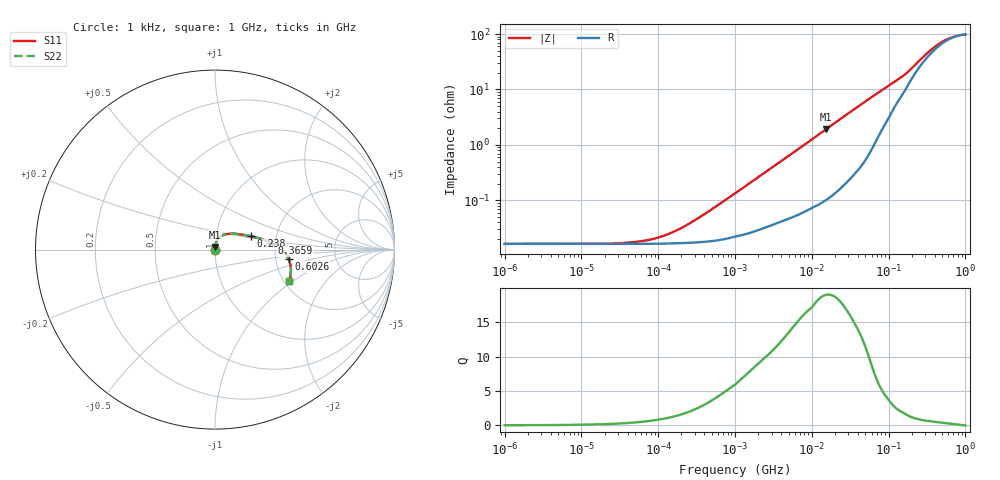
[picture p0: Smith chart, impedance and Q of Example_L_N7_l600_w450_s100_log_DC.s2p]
! Touchstone file exported from HFSS 2023.1.0
!  File:  E:/OneDrive/Studium_Master/4__Masterarbeit/Paper/Fitting_Final_Paper/Paper_Example_Inductor.aedt
!  Generated:  9:55:06  Jan 21, 2025
!  Design:  HFSSDesign1
!  Project:  Paper_Example_Inductor
!  Setup:  Setup1
!  Solution:  Sweep_Log
! Variables:
!  BEOL_h = 0.4um
!  Current = 100mA
!  N = 7
!  Polyimide_h = 86um
!  Sub_h = 750um
!  core_dx = 14.85um
!  core_dy = 19.8um
!  feed_l = 750um
!  h_6S = 25um
!  h_6T = 25um
!  h_core = 6um
!  inductor_length = 3789.6um
!  inductor_width = 720um
!  iso = 5um
!  pad_l = 60um
!  port_l = 60um
!  region_l = 20.72mm
!  region_w = 23.7896mm
!  ring_sep = 100um
!  ring_w = 100um
!  sf = 0.9
!  turn_s = 100um
!  via_h = 16um
!  via_off = 5um
!  winding_l = 600um
!  winding_w = 450um
!  x_offset = 0m
!  y_offset = 0m
!  z_offset = 6mm
# GHz S MA R 50.000000
! Terminal data exported
! Port[1] = P1
! Port[2] = P2
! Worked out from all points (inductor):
!   1801 points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, 1 kHz to 1 GHz, reference 50 ohm
!   read as 1/Y11, port 2 shorted: L = 21.3 nH near 401.2 kHz
!   highest Q = 19 at 15.37 MHz (marker M1), where L = 20 nH
!   self-resonance near 960.5 MHz
!   S11 on the Smith chart (normalised r, x): 1 kHz: 1.00, -0.00; 238 MHz: 1.47, +0.23; 365.9 MHz: 1.93, +0.15; 602.6 MHz: 2.37, -0.29; 1 GHz: 2.13, -0.93
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1e-06  0.0001678 -11.9  0.9998 -0.0  0.9998 -0.0  0.0001678 -11.9
! Gamma 0 0 0 0
! Port Impedance 50 0 50 0
1.007705e-05  0.0001665 -9.4  0.9998 -0.0  0.9998 -0.0  0.0001665 -9.4
4.200813e-05  0.0001682 12.3  0.9998 -0.0  0.9998 -0.0  0.0001682 12.3
6.812921e-05  0.0001779 22.4  0.9998 -0.0  0.9998 -0.0  0.0001779 22.4
0.0001007705  0.000196 32.7  0.9998 -0.0  0.9998 -0.0  0.000196 32.7
0.0001584893  0.0002369 45.0  0.9998 -0.0  0.9998 -0.0  0.0002369 45.0
0.000253124  0.0003198 57.5  0.9998 -0.0  0.9998 -0.0  0.0003198 57.5
0.0004233179  0.0004879 68.4  0.9998 -0.0  0.9998 -0.0  0.0004879 68.4
0.001  0.001075 78.1  0.9998 -0.1  0.9998 -0.1  0.001075 78.1
0.01007705  0.01007 85.1  0.9992 -0.9  0.9992 -0.9  0.01007 85.1
0.01536975  0.01531 85.0  0.9988 -1.3  0.9988 -1.3  0.01531 85.0
0.04073803  0.03929 81.4  0.9955 -3.4  0.9955 -3.4  0.03929 81.4
0.0665784  0.06211 74.8  0.9872 -5.5  0.9872 -5.5  0.06211 74.8
0.1007705  0.08867 63.1  0.9667 -7.8  0.9667 -7.8  0.08867 63.1
0.160941  0.1337 41.7  0.9113 -10.8  0.9113 -10.8  0.1337 41.7
0.2380492  0.2124 20.7  0.8146 -13.9  0.8146 -13.9  0.2124 20.7
0.2973948  0.269 12.4  0.7507 -16.1  0.7507 -16.1  0.269 12.4
0.3658755  0.3209 6.2  0.6927 -18.4  0.6927 -18.4  0.3209 6.2
0.4677351  0.3747 -0.3  0.6312 -21.5  0.6312 -21.5  0.3746 -0.3
0.6025596  0.4133 -7.1  0.5822 -24.9  0.5822 -24.9  0.4132 -7.1
0.770312  0.4366 -14.3  0.5456 -28.9  0.5456 -28.9  0.4364 -14.3
1  0.4476 -23.0  0.514 -34.5  0.514 -34.5  0.4471 -23.0
